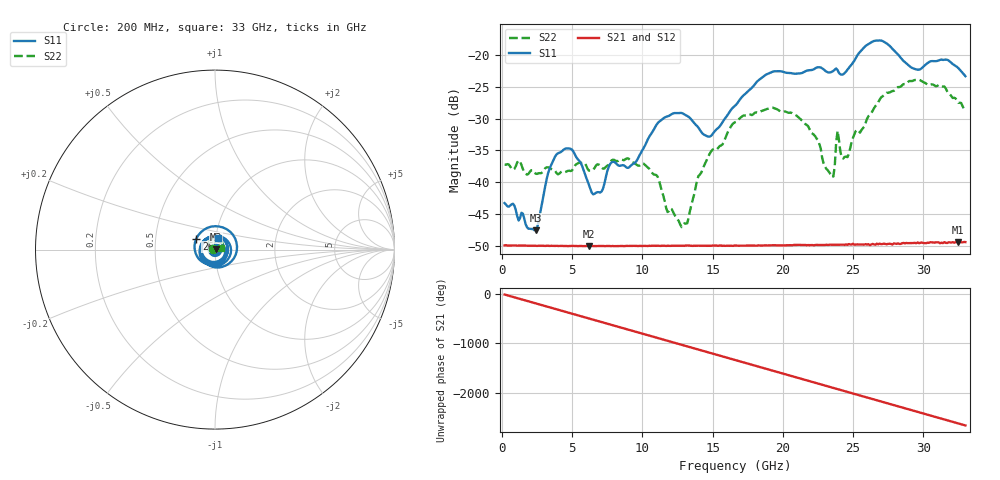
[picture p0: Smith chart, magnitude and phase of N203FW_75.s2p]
# GHZ S RI R 50
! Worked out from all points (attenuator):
!   329 points, 200 MHz to 33 GHz, reference 50 ohm
!   highest |S21| = -49.43 dB at 32.5 GHz (marker M1); lowest = -50.1 dB at 6.2 GHz (marker M2)
!   lowest |S11| = -47.6 dB at 2.4 GHz (marker M3), VSWR 1.01, Z = 50.3 + j0.271 ohm
!   |S11| at or under -10 dB: start of sweep to end of sweep
!   |S22| runs from -47.1 to -23.9 dB; largest |S21 - S12| = 8.8e-05
!   S11 on the Smith chart (normalised r, x): 200 MHz: 1.01, +0.00; 26 GHz: 0.81, +0.10; 33 GHz: 1.03, +0.14
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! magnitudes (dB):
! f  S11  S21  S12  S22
! 200 MHz  -43.3  -50.0  -49.9  -37.2
! 2.4 GHz  -47.6  -50.0  -50.0  -38.6
! 3.9 GHz  -35.6  -50.0  -50.0  -38.6
! 5.7 GHz  -37.4  -50.1  -50.1  -36.9
! 6.2 GHz  -40.4  -50.1  -50.1  -38.2
! 9.5 GHz  -36.9  -50.0  -50.0  -37.1
! 11.2 GHz  -30.5  -50.0  -50.0  -39.8
! 11.8 GHz  -29.6  -50.0  -50.0  -44.7
! 13.2 GHz  -29.6  -50.0  -50.0  -46.5
! 14.8 GHz  -32.8  -50.0  -50.0  -35.5
! 16.6 GHz  -28.0  -50.0  -50.0  -30.6
! 19.3 GHz  -22.6  -49.9  -49.9  -28.3
! 22.1 GHz  -22.3  -49.9  -49.9  -32.3
! 23.5 GHz  -22.6  -49.9  -49.8  -39.2
! 23.9 GHz  -22.3  -49.9  -49.9  -31.9
! 24.2 GHz  -23.1  -49.9  -49.8  -36.1
! 24.6 GHz  -22.3  -49.9  -49.8  -36.1
! 26 GHz  -18.4  -49.8  -49.8  -30.0
! 27.6 GHz  -18.5  -49.7  -49.7  -25.9
! 29.7 GHz  -22.3  -49.6  -49.6  -23.9
! 32.5 GHz  -22.0  -49.4  -49.4  -27.5
! 33 GHz  -23.3  -49.4  -49.5  -28.7
